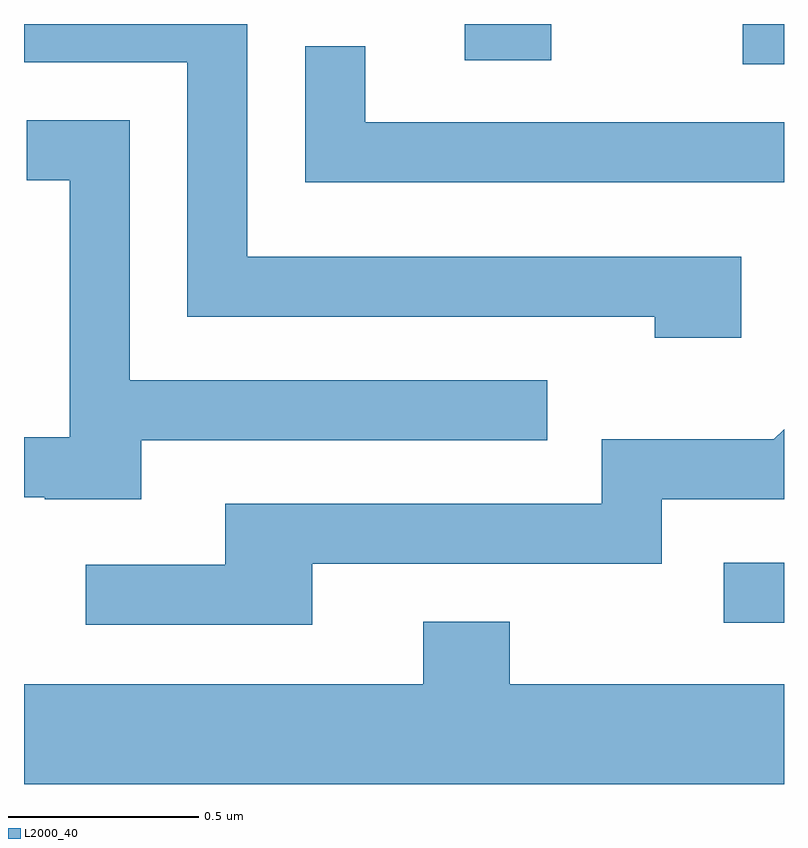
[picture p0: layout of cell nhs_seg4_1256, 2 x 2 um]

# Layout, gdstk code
import gdstk
lib = gdstk.Library(unit=1e-6, precision=1e-09)
def R(c, l, rs):  # rectangles x0, y0, x1, y1
    for r in rs: c.add(gdstk.rectangle(r[:2], r[2:], *l))
def P(c, l, *ps):  # polygons
    for p in ps: c.add(gdstk.Polygon(p, *l))
L2000_40 = (2000, 40)

nhs_seg4_1256 = lib.new_cell('nhs_seg4_1256')
R(nhs_seg4_1256, L2000_40, [(196.453,1277.406,196.611,1277.564), (196.503,1278.876,196.611,1278.982), (195.771,1278.886,195.999,1278.982)])
P(nhs_seg4_1256, L2000_40, [(196.499,1278.369),(195.199,1278.369),(195.199,1278.982),(194.611,1278.982),(194.611,1278.881),(195.041,1278.881),(195.041,1278.211),(196.271,1278.211),(196.271,1278.156),(196.499,1278.156)],
  [(196.611,1278.724),(195.509,1278.724),(195.509,1278.923),(195.351,1278.923),(195.351,1278.566),(196.611,1278.566)],
  [(194.919,1277.886),(195.988,1277.886),(195.988,1278.044),(194.889,1278.044),(194.889,1278.729),(194.618,1278.729),(194.618,1278.571),(194.731,1278.571),(194.731,1277.894),(194.611,1277.894),(194.611,1277.736),(194.665,1277.736),(194.665,1277.731),(194.919,1277.731)],
  [(195.369,1277.561),(196.289,1277.561),(196.289,1277.731),(196.611,1277.731),(196.611,1277.916),(196.584,1277.889),(196.131,1277.889),(196.131,1277.719),(195.141,1277.719),(195.141,1277.559),(194.773,1277.559),(194.773,1277.401),(195.369,1277.401)],
  [(196.611,1277.244),(195.889,1277.244),(195.889,1277.409),(195.661,1277.409),(195.661,1277.244),(194.611,1277.244),(194.611,1276.982),(196.611,1276.982)])

lib.write_gds('nhs_seg4_1256.gds')
